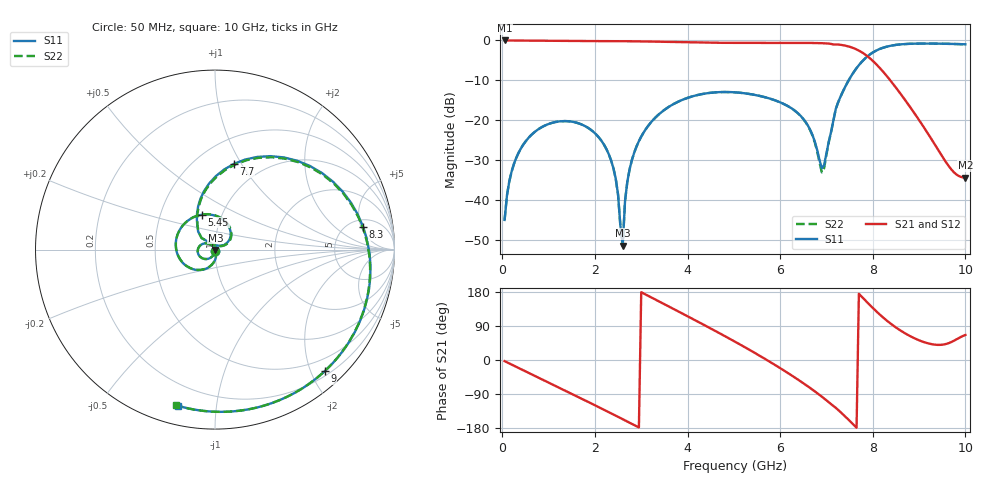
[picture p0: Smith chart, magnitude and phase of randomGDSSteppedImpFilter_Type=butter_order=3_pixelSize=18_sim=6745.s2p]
! freq	dB(S11)	phase(S11)	dB(S12)	phase(S12)
!  dB(S21)	phase(S21)	dB(S22)	phase(S22)
!S-par simulation data
#  GHz  S  DB  R 50
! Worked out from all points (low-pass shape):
!   200 points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, 50 MHz to 10 GHz, reference 50 ohm
!   highest |S21| = -0.01 dB at 50 MHz (marker M1); lowest = -34.4 dB at 10 GHz (marker M2)
!   |S21| within 3 dB of the highest: start of sweep to 7.767 GHz
!   lowest |S11| = -51.5 dB at 2.6 GHz (marker M3), VSWR 1.01, Z = 50.2 - j0.156 ohm
!   |S11| at or under -10 dB: start of sweep to 7.481 GHz
!   |S22| runs from -51.7 to -0.8 dB; largest |S21 - S12| = 0
!   S11 on the Smith chart (normalised r, x): 50 MHz: 1.00, -0.01; 5.45 GHz: 0.81, +0.33; 7.7 GHz: 0.74, +0.93; 8.3 GHz: 6.52, +5.44; 9 GHz: 0.27, -2.22; 10 GHz: 0.09, -0.79
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0.05  -45.08 -88.9  -0.01 -3.0  -0.01 -3.0  -45.08 -89.0
0.2  -32.99 -100.7  -0.02 -12.0  -0.02 -12.0  -32.99 -100.7
0.55  -24.69 -122.9  -0.07 -32.9  -0.07 -32.9  -24.68 -122.9
1.75  -21.30 164.9  -0.16 -104.3  -0.16 -104.3  -21.30 164.9
2.35  -30.15 127.7  -0.18 -140.8  -0.18 -140.8  -30.15 128.2
2.5  -38.74 116.9  -0.19 -150.0  -0.19 -150.0  -38.76 118.7
2.6  -51.51 -35.6  -0.20 -156.2  -0.20 -156.2  -51.67 -38.2
2.65  -40.40 -67.0  -0.20 -159.3  -0.20 -159.3  -40.40 -70.0
2.8  -29.98 -78.5  -0.22 -168.6  -0.22 -168.6  -29.99 -79.6
3.4  -18.36 -116.6  -0.33 153.6  -0.33 153.6  -18.37 -117.3
4.25  -13.62 -170.4  -0.53 99.4  -0.53 99.4  -13.62 -171.2
5.05  -13.06 137.4  -0.62 46.6  -0.62 46.6  -13.06 136.0
5.45  -13.67 110.1  -0.62 18.9  -0.62 18.9  -13.68 108.4
6.05  -15.80 67.6  -0.61 -25.2  -0.61 -25.2  -15.81 65.2
6.7  -23.82 28.3  -0.64 -78.4  -0.64 -78.4  -23.95 24.3
6.9  -32.11 68.5  -0.70 -96.7  -0.70 -96.7  -33.14 65.7
7.2  -17.24 133.0  -1.02 -126.0  -1.02 -126.0  -17.27 132.8
7.7  -6.21 77.6  -2.55 174.8  -2.55 174.8  -6.21 76.4
8.3  -1.57 8.7  -8.91 104.3  -8.91 104.3  -1.57 7.6
8.35  -1.43 3.8  -9.62 99.4  -9.62 99.4  -1.43 2.7
9  -0.79 -48.0  -20.01 52.0  -20.01 52.0  -0.80 -49.0
10  -0.97 -103.4  -34.44 66.1  -34.44 66.1  -0.97 -104.2
